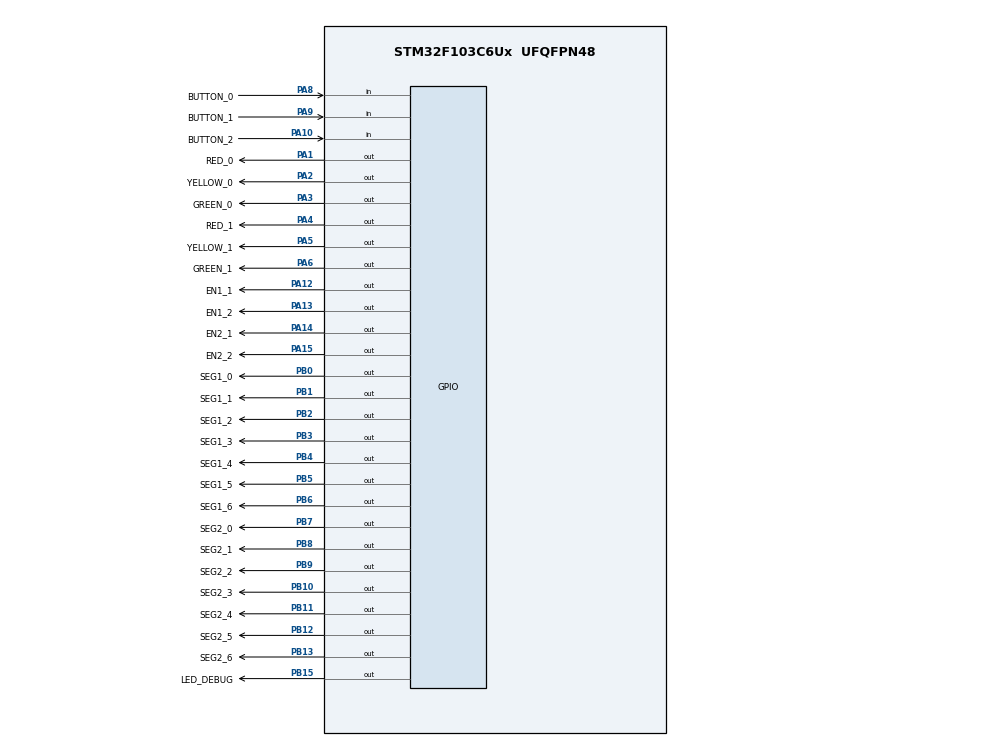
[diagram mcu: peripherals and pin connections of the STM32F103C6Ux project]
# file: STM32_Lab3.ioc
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Mcu.Family=STM32F1
Mcu.Name=STM32F103C6Ux
Mcu.Package=UFQFPN48
NVIC.PriorityGroup=NVIC_PRIORITYGROUP_4
NVIC.TIM2_IRQn=true\:0\:0\:false\:false\:true\:true\:true
PA1.GPIO_Label=RED_0
PA1.Signal=GPIO_Output
PA10.GPIO_Label=BUTTON_2
PA10.GPIO_PuPd=GPIO_PULLUP
PA10.Signal=GPIO_Input
PA12.GPIO_Label=EN1_1
PA12.Signal=GPIO_Output
PA13.GPIO_Label=EN1_2
PA13.Signal=GPIO_Output
PA14.GPIO_Label=EN2_1
PA14.Signal=GPIO_Output
PA15.GPIO_Label=EN2_2
PA15.Signal=GPIO_Output
PA2.GPIO_Label=YELLOW_0
PA2.Signal=GPIO_Output
PA3.GPIO_Label=GREEN_0
PA3.Signal=GPIO_Output
PA4.GPIO_Label=RED_1
PA4.Signal=GPIO_Output
PA5.GPIO_Label=YELLOW_1
PA5.Signal=GPIO_Output
PA6.GPIO_Label=GREEN_1
PA6.Signal=GPIO_Output
PA8.GPIO_Label=BUTTON_0
PA8.GPIO_PuPd=GPIO_PULLUP
PA8.Signal=GPIO_Input
PA9.GPIO_Label=BUTTON_1
PA9.GPIO_PuPd=GPIO_PULLUP
PA9.Signal=GPIO_Input
PB0.GPIO_Label=SEG1_0
PB0.Signal=GPIO_Output
PB1.GPIO_Label=SEG1_1
PB1.Signal=GPIO_Output
PB10.GPIO_Label=SEG2_3
PB10.Signal=GPIO_Output
PB11.GPIO_Label=SEG2_4
PB11.Signal=GPIO_Output
PB12.GPIO_Label=SEG2_5
PB12.Signal=GPIO_Output
PB13.GPIO_Label=SEG2_6
PB13.Signal=GPIO_Output
PB15.GPIO_Label=LED_DEBUG
PB15.Signal=GPIO_Output
PB2.GPIO_Label=SEG1_2
PB2.Signal=GPIO_Output
PB3.GPIO_Label=SEG1_3
PB3.Signal=GPIO_Output
PB4.GPIO_Label=SEG1_4
PB4.Signal=GPIO_Output
PB5.GPIO_Label=SEG1_5
PB5.Signal=GPIO_Output
PB6.GPIO_Label=SEG1_6
PB6.Signal=GPIO_Output
PB7.GPIO_Label=SEG2_0
PB7.Signal=GPIO_Output
PB8.GPIO_Label=SEG2_1
PB8.Signal=GPIO_Output
PB9.GPIO_Label=SEG2_2
PB9.Signal=GPIO_Output
ProjectManager.HeapSize=0x200
ProjectManager.StackSize=0x400
ProjectManager.TargetToolchain=STM32CubeIDE
RCC.AHBFreq_Value=8000000
RCC.APB1Freq_Value=8000000
RCC.APB1TimFreq_Value=8000000
RCC.APB2Freq_Value=8000000
RCC.APB2TimFreq_Value=8000000
RCC.HCLKFreq_Value=8000000
TIM2.Period=9
TIM2.Prescaler=7999
VP_SYS_VS_ND.Mode=No_Debug
VP_TIM2_VS_ClockSourceINT.Mode=Internal
board=custom

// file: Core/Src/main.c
/* USER CODE BEGIN Header */
/**
  ******************************************************************************
  * @file           : main.c
  * @brief          : Main program body
  ******************************************************************************
  * @attention
  *
  * <h2><center>&copy; Copyright (c) 2024 STMicroelectronics.
  * All rights reserved.</center></h2>
  *
  * This software component is licensed by ST under BSD 3-Clause license,
  * the "License"; You may not use this file except in compliance with the
  * License. You may obtain a copy of the License at:
  *                        opensource.org/licenses/BSD-3-Clause
  *
  ******************************************************************************
  */
/* USER CODE END Header */
#include "main.h"

/* USER CODE BEGIN Includes */
#include "Lab3_Process.h"
//#include "timer.h"
/* USER CODE END Includes */

TIM_HandleTypeDef htim2;

void SystemClock_Config(void);
static void MX_GPIO_Init(void);
static void MX_TIM2_Init(void);

/* USER CODE BEGIN 0 */
uint8_t Sec_counter;
uint8_t Sec_flag = 0;
uint8_t TIMER_CYCLE = 10;

void setTimerSec(int duration){
	Sec_counter = duration / TIMER_CYCLE;
	Sec_flag = 0;
}

void timer_run(){
	if (Sec_counter > 0){
		Sec_counter--;
		if (Sec_counter == 0)
			Sec_flag = 1;
	}
}
/* USER CODE END 0 */

int main(void)
{

  /* MCU Configuration--------------------------------------------------------*/

  /* Reset of all peripherals, Initializes the Flash interface and the Systick. */
  HAL_Init();

  /* Configure the system clock */
  SystemClock_Config();

  /* Initialize all configured peripherals */
  MX_GPIO_Init();
  MX_TIM2_Init();
  /* USER CODE BEGIN 2 */
  HAL_TIM_Base_Start_IT (& htim2 );
  /* USER CODE END 2 */

  /* Infinite loop */
  /* USER CODE BEGIN WHILE */
  Lab3_Init();
  setTimerSec(0);
  while (1)
  {
	  if (Sec_flag) {
		  HAL_GPIO_TogglePin(LED_DEBUG_GPIO_Port, LED_DEBUG_Pin);
		  //Mode_1();
		  setTimerSec(1000);
	  }
    /* USER CODE END WHILE */

  }
}

void SystemClock_Config(void)
{
  RCC_OscInitTypeDef RCC_OscInitStruct = {0};
  RCC_ClkInitTypeDef RCC_ClkInitStruct = {0};

  /** Initializes the RCC Oscillators according to the specified parameters
  * in the RCC_OscInitTypeDef structure.
  */
  RCC_OscInitStruct.OscillatorType = RCC_OSCILLATORTYPE_HSI;
  RCC_OscInitStruct.HSIState = RCC_HSI_ON;
  RCC_OscInitStruct.HSICalibrationValue = RCC_HSICALIBRATION_DEFAULT;
  RCC_OscInitStruct.PLL.PLLState = RCC_PLL_NONE;
  if (HAL_RCC_OscConfig(&RCC_OscInitStruct) != HAL_OK)
  {
    Error_Handler();
  }
  /** Initializes the CPU, AHB and APB buses clocks
  */
  RCC_ClkInitStruct.ClockType = RCC_CLOCKTYPE_HCLK|RCC_CLOCKTYPE_SYSCLK
                              |RCC_CLOCKTYPE_PCLK1|RCC_CLOCKTYPE_PCLK2;
  RCC_ClkInitStruct.SYSCLKSource = RCC_SYSCLKSOURCE_HSI;
  RCC_ClkInitStruct.AHBCLKDivider = RCC_SYSCLK_DIV1;
  RCC_ClkInitStruct.APB1CLKDivider = RCC_HCLK_DIV1;
  RCC_ClkInitStruct.APB2CLKDivider = RCC_HCLK_DIV1;

  if (HAL_RCC_ClockConfig(&RCC_ClkInitStruct, FLASH_LATENCY_0) != HAL_OK)
  {
    Error_Handler();
  }
}

static void MX_TIM2_Init(void)
{

  TIM_ClockConfigTypeDef sClockSourceConfig = {0};
  TIM_MasterConfigTypeDef sMasterConfig = {0};

  htim2.Instance = TIM2;
  htim2.Init.Prescaler = 7999;
  htim2.Init.CounterMode = TIM_COUNTERMODE_UP;
  htim2.Init.Period = 9;
  htim2.Init.ClockDivision = TIM_CLOCKDIVISION_DIV1;
  htim2.Init.AutoReloadPreload = TIM_AUTORELOAD_PRELOAD_DISABLE;
  if (HAL_TIM_Base_Init(&htim2) != HAL_OK)
  {
    Error_Handler();
  }
  sClockSourceConfig.ClockSource = TIM_CLOCKSOURCE_INTERNAL;
  if (HAL_TIM_ConfigClockSource(&htim2, &sClockSourceConfig) != HAL_OK)
  {
    Error_Handler();
  }
  sMasterConfig.MasterOutputTrigger = TIM_TRGO_RESET;
  sMasterConfig.MasterSlaveMode = TIM_MASTERSLAVEMODE_DISABLE;
  if (HAL_TIMEx_MasterConfigSynchronization(&htim2, &sMasterConfig) != HAL_OK)
  {
    Error_Handler();
  }

}

static void MX_GPIO_Init(void)
{
  GPIO_InitTypeDef GPIO_InitStruct = {0};

  /* GPIO Ports Clock Enable */
  __HAL_RCC_GPIOA_CLK_ENABLE();
  __HAL_RCC_GPIOB_CLK_ENABLE();

  /*Configure GPIO pin Output Level */
  HAL_GPIO_WritePin(GPIOA, RED_0_Pin|YELLOW_0_Pin|GREEN_0_Pin|RED_1_Pin
                          |YELLOW_1_Pin|GREEN_1_Pin|EN1_1_Pin|EN1_2_Pin
                          |EN2_1_Pin|EN2_2_Pin, GPIO_PIN_RESET);

  /*Configure GPIO pin Output Level */
  HAL_GPIO_WritePin(GPIOB, SEG1_0_Pin|SEG1_1_Pin|SEG1_2_Pin|SEG2_3_Pin
                          |SEG2_4_Pin|SEG2_5_Pin|SEG2_6_Pin|LED_DEBUG_Pin
                          |SEG1_3_Pin|SEG1_4_Pin|SEG1_5_Pin|SEG1_6_Pin
                          |SEG2_0_Pin|SEG2_1_Pin|SEG2_2_Pin, GPIO_PIN_RESET);

  /*Configure GPIO pins : RED_0_Pin YELLOW_0_Pin GREEN_0_Pin RED_1_Pin
                           YELLOW_1_Pin GREEN_1_Pin EN1_1_Pin EN1_2_Pin
                           EN2_1_Pin EN2_2_Pin */
  GPIO_InitStruct.Pin = RED_0_Pin|YELLOW_0_Pin|GREEN_0_Pin|RED_1_Pin
                          |YELLOW_1_Pin|GREEN_1_Pin|EN1_1_Pin|EN1_2_Pin
                          |EN2_1_Pin|EN2_2_Pin;
  GPIO_InitStruct.Mode = GPIO_MODE_OUTPUT_PP;
  GPIO_InitStruct.Pull = GPIO_NOPULL;
  GPIO_InitStruct.Speed = GPIO_SPEED_FREQ_LOW;
  HAL_GPIO_Init(GPIOA, &GPIO_InitStruct);

  /*Configure GPIO pins : SEG1_0_Pin SEG1_1_Pin SEG1_2_Pin SEG2_3_Pin
                           SEG2_4_Pin SEG2_5_Pin SEG2_6_Pin LED_DEBUG_Pin
                           SEG1_3_Pin SEG1_4_Pin SEG1_5_Pin SEG1_6_Pin
                           SEG2_0_Pin SEG2_1_Pin SEG2_2_Pin */
  GPIO_InitStruct.Pin = SEG1_0_Pin|SEG1_1_Pin|SEG1_2_Pin|SEG2_3_Pin
                          |SEG2_4_Pin|SEG2_5_Pin|SEG2_6_Pin|LED_DEBUG_Pin
                          |SEG1_3_Pin|SEG1_4_Pin|SEG1_5_Pin|SEG1_6_Pin
                          |SEG2_0_Pin|SEG2_1_Pin|SEG2_2_Pin;
  GPIO_InitStruct.Mode = GPIO_MODE_OUTPUT_PP;
  GPIO_InitStruct.Pull = GPIO_NOPULL;
  GPIO_InitStruct.Speed = GPIO_SPEED_FREQ_LOW;
  HAL_GPIO_Init(GPIOB, &GPIO_InitStruct);

  /*Configure GPIO pins : BUTTON_0_Pin BUTTON_1_Pin BUTTON_2_Pin */
  GPIO_InitStruct.Pin = BUTTON_0_Pin|BUTTON_1_Pin|BUTTON_2_Pin;
  GPIO_InitStruct.Mode = GPIO_MODE_INPUT;
  GPIO_InitStruct.Pull = GPIO_PULLUP;
  HAL_GPIO_Init(GPIOA, &GPIO_InitStruct);

}

/* USER CODE BEGIN 4 */
void HAL_TIM_PeriodElapsedCallback(TIM_HandleTypeDef *htim)
{
	timer_run();
}
/* USER CODE END 4 */

void Error_Handler(void)
{
  __disable_irq();
  while (1)
  {
  }
}

/************************ (C) COPYRIGHT STMicroelectronics *****END OF FILE****/
